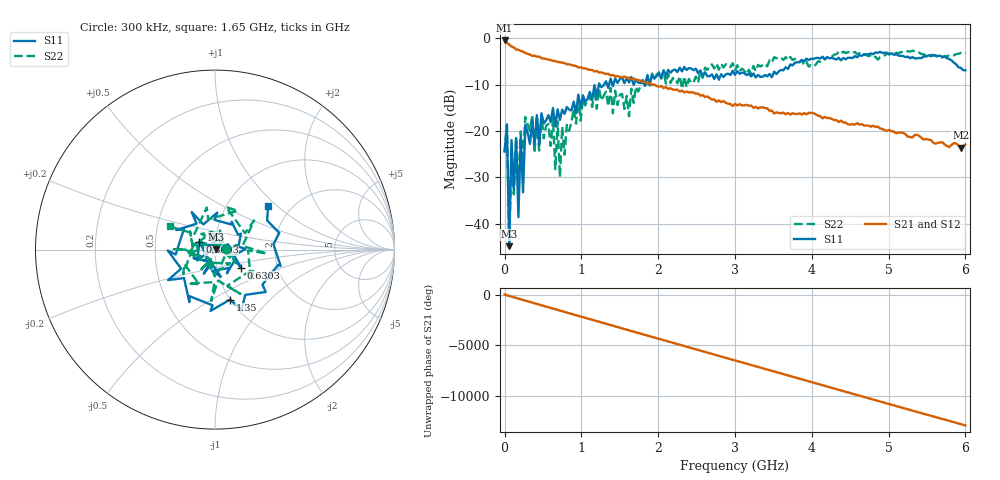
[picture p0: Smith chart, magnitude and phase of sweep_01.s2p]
! 2-port S-parameters written by miniscope-char acquisition
! instrument: Pico Technology Ltd,PicoVNA-106,10080,5.3.4
! transport: scpi
! endpoint: 127.0.0.1:5025
! demo: false
! calibration: user
! calibration_file: June 2026 Short cable calibration.calx
# HZ S RI R 50
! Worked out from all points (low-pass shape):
!   201 points, 300 kHz to 6 GHz, reference 50 ohm
!   highest |S21| = -0.50 dB at 300 kHz (marker M1); lowest = -23.6 dB at 5.94 GHz (marker M2)
!   |S21| within 3 dB of the highest: start of sweep to 321.6 MHz
!   lowest |S11| = -44.9 dB at 60.3 MHz (marker M3), VSWR 1.01, Z = 50.6 + j0.124 ohm
!   |S11| at or under -10 dB: start of sweep to 1.228 GHz; 1.239 GHz to 1.296 GHz (56.41 MHz wide, 4.45 % of centre); 1.335 GHz to 1.361 GHz (26.17 MHz wide, 1.94 % of centre)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
!   |S22| runs from -43.9 to -2.7 dB; largest |S21 - S12| = 0.01
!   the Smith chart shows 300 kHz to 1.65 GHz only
!   S11 on the Smith chart (normalised r, x): 300 kHz: 1.13, +0.02; 300.3 MHz: 0.84, +0.07; 630.3 MHz: 1.31, -0.27; 1.35 GHz: 1.00, -0.61; 1.65 GHz: 1.54, +0.87
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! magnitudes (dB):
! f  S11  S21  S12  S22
! 300 kHz  -24.4  -0.5  -0.6  -24.6
! 30.3 MHz  -18.6  -1.0  -1.0  -18.7
! 60.3 MHz  -44.9  -1.4  -1.4  -43.9
! 90.3 MHz  -21.9  -1.8  -1.8  -24.3
! 120.3 MHz  -32.6  -2.0  -2.0  -33.7
! 150.3 MHz  -21.5  -2.5  -2.4  -21.5
! 180.3 MHz  -38.6  -2.5  -2.5  -32.3
! 210.3 MHz  -21.2  -2.8  -2.7  -20.1
! 240.3 MHz  -33.3  -2.9  -2.9  -25.5
! 300.3 MHz  -20.4  -3.4  -3.4  -18.5
! 630.3 MHz  -15.1  -4.9  -4.9  -17.3
! 720.3 MHz  -17.6  -5.2  -5.2  -30.0
! 750.3 MHz  -15.4  -5.3  -5.3  -19.1
! 1.02 GHz  -12.3  -6.5  -6.5  -13.0
! 1.35 GHz  -10.7  -7.7  -7.7  -14.7
! 1.65 GHz  -8.4  -8.9  -8.8  -10.9
! 2.01 GHz  -7.6  -10.4  -10.4  -7.4
! 3 GHz  -7.9  -14.2  -14.2  -6.9
! 4.02 GHz  -4.5  -16.1  -16.1  -6.1
! 5.01 GHz  -3.4  -19.8  -19.8  -3.5
! 5.94 GHz  -6.4  -23.6  -23.6  -3.2
! 6 GHz  -6.9  -22.9  -22.9  -3.2
